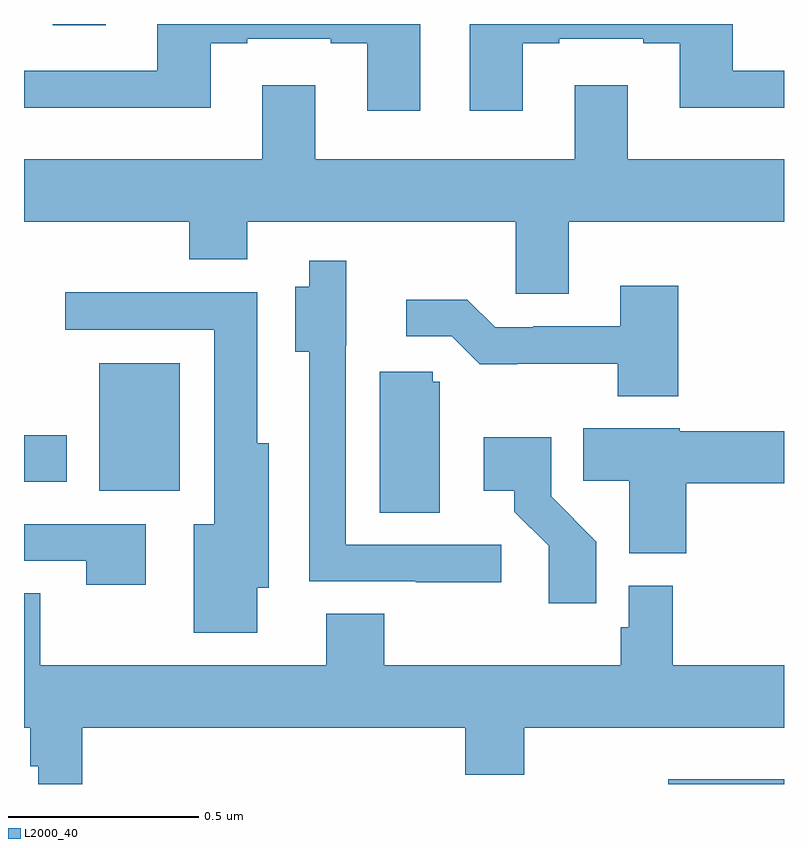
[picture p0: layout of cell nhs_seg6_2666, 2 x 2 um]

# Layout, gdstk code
import gdstk
lib = gdstk.Library(unit=1e-6, precision=1e-09)
def R(c, l, rs):  # rectangles x0, y0, x1, y1
    for r in rs: c.add(gdstk.rectangle(r[:2], r[2:], *l))
def P(c, l, *ps):  # polygons
    for p in ps: c.add(gdstk.Polygon(p, *l))
L2000_40 = (2000, 40)

nhs_seg6_2666 = lib.new_cell('nhs_seg6_2666')
R(nhs_seg6_2666, L2000_40, [(147.695,968.5,148,968.512), (146.198,969.272,146.41,969.607), (146,969.296,146.113,969.418), (146.075,970.497,146.215,970.5)])
P(nhs_seg6_2666, L2000_40, [(147.313,970.449),(147.409,970.449),(147.409,970.461),(147.629,970.461),(147.629,970.449),(147.725,970.449),(147.725,970.28),(148,970.28),(148,970.377),(147.865,970.377),(147.865,970.5),(147.173,970.5),(147.173,970.272),(147.313,970.272)],
  [(147.043,970.5),(146.351,970.5),(146.351,970.377),(146,970.377),(146,970.28),(146.491,970.28),(146.491,970.449),(146.587,970.449),(146.587,970.461),(146.807,970.461),(146.807,970.449),(146.903,970.449),(146.903,970.272),(147.043,970.272)],
  [(147.433,969.98),(148,969.98),(148,970.144),(147.589,970.144),(147.589,970.339),(147.449,970.339),(147.449,970.144),(146.767,970.144),(146.767,970.339),(146.627,970.339),(146.627,970.144),(146,970.144),(146,969.98),(146.435,969.98),(146.435,969.881),(146.587,969.881),(146.587,969.98),(147.294,969.98),(147.294,969.79),(147.433,969.79)],
  [(147.256,969.129),(146.847,969.129),(146.847,969.654),(146.848,969.654),(146.848,969.877),(146.75,969.877),(146.75,969.808),(146.714,969.808),(146.714,969.638),(146.751,969.638),(146.751,969.033),(147.031,969.033),(147.031,969.031),(147.256,969.031)],
  [(147.722,969.811),(147.569,969.811),(147.569,969.705),(147.34,969.705),(147.34,969.702),(147.24,969.702),(147.167,969.775),(147.006,969.775),(147.006,969.678),(147.126,969.678),(147.199,969.605),(147.298,969.605),(147.298,969.606),(147.562,969.606),(147.562,969.521),(147.722,969.521)],
  [(146.614,969.017),(146.644,969.017),(146.644,969.397),(146.614,969.397),(146.614,969.794),(146.109,969.794),(146.109,969.696),(146.501,969.696),(146.501,969.184),(146.447,969.184),(146.447,968.898),(146.614,968.898)],
  [(147.094,969.558),(147.075,969.558),(147.075,969.585),(146.936,969.585),(146.936,969.214),(147.094,969.214)],
  [(147.743,969.292),(148,969.292),(148,969.428),(147.726,969.428),(147.726,969.436),(147.472,969.436),(147.472,969.298),(147.593,969.298),(147.593,969.107),(147.743,969.107)],
  [(147.506,969.138),(147.387,969.257),(147.387,969.412),(147.21,969.412),(147.21,969.272),(147.29,969.272),(147.29,969.217),(147.381,969.127),(147.381,968.976),(147.506,968.976)],
  [(146.32,969.183),(146,969.183),(146,969.087),(146.164,969.087),(146.164,969.024),(146.32,969.024)],
  [(146.153,968.648),(147.161,968.648),(147.161,968.524),(147.317,968.524),(147.317,968.648),(148,968.648),(148,968.812),(147.707,968.812),(147.707,969.022),(147.591,969.022),(147.591,968.913),(147.571,968.913),(147.571,968.812),(146.948,968.812),(146.948,968.948),(146.795,968.948),(146.795,968.812),(146.043,968.812),(146.043,969.002),(146,969.002),(146,968.648),(146.017,968.648),(146.017,968.547),(146.037,968.547),(146.037,968.5),(146.153,968.5)])

lib.write_gds('nhs_seg6_2666.gds')
